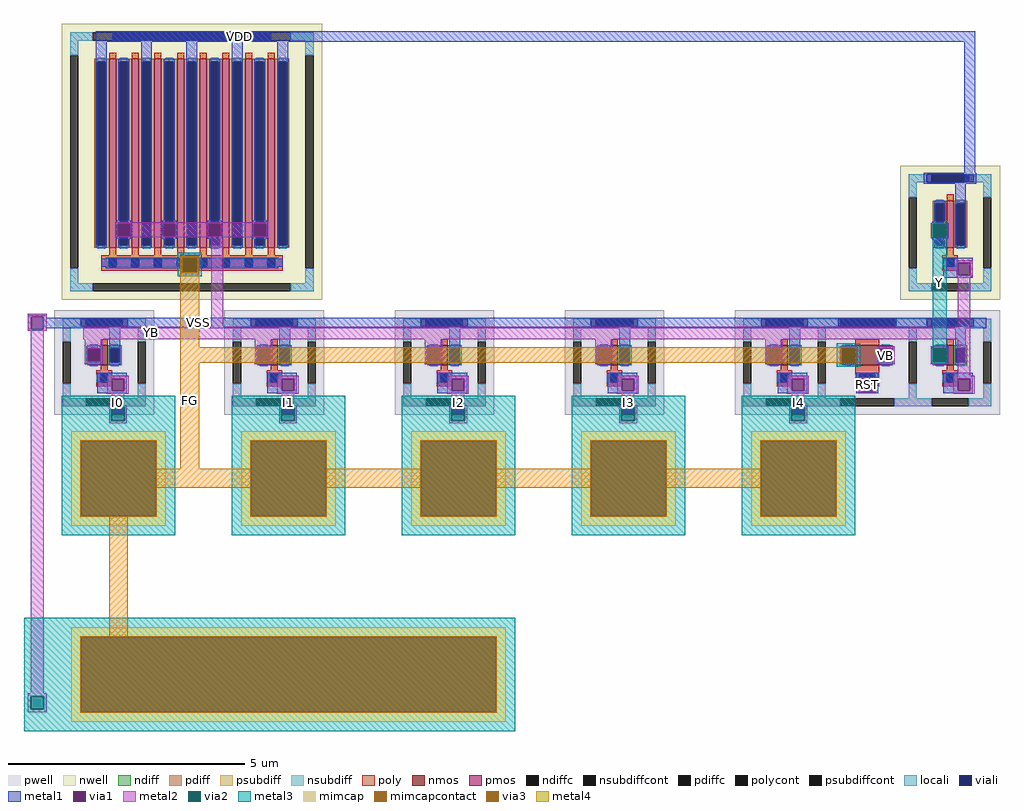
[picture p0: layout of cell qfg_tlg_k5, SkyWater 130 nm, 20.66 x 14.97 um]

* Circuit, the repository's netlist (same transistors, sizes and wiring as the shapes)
.subckt qfg_tlg_k5 I0 I1 I2 I3 I4 RST VB Y YB FG VDD VSS
XMP  YB FG VDD VDD sky130_fd_pr__pfet_01v8 W=32.0 L=0.15
XMNI0 YB I0 VSS VSS sky130_fd_pr__nfet_01v8 W=0.42 L=0.15
XMNI1 YB I1 VSS VSS sky130_fd_pr__nfet_01v8 W=0.42 L=0.15
XMNI2 YB I2 VSS VSS sky130_fd_pr__nfet_01v8 W=0.42 L=0.15
XMNI3 YB I3 VSS VSS sky130_fd_pr__nfet_01v8 W=0.42 L=0.15
XMNI4 YB I4 VSS VSS sky130_fd_pr__nfet_01v8 W=0.42 L=0.15
XCI0 FG I0 sky130_fd_pr__cap_mim_m3_1 W=2.0 L=2.0 MF=1
XCI1 FG I1 sky130_fd_pr__cap_mim_m3_1 W=2.0 L=2.0 MF=1
XCI2 FG I2 sky130_fd_pr__cap_mim_m3_1 W=2.0 L=2.0 MF=1
XCI3 FG I3 sky130_fd_pr__cap_mim_m3_1 W=2.0 L=2.0 MF=1
XCI4 FG I4 sky130_fd_pr__cap_mim_m3_1 W=2.0 L=2.0 MF=1
XCBL FG VSS sky130_fd_pr__cap_mim_m3_1 W=9.2 L=2.0 MF=1
XMR  FG RST VB VSS sky130_fd_pr__nfet_01v8 W=0.42 L=0.5
XIP  Y  YB VDD VDD sky130_fd_pr__pfet_01v8 W=1.0 L=0.15
XIN  Y  YB VSS VSS sky130_fd_pr__nfet_01v8 W=0.42 L=0.15
.ends qfg_tlg_k5

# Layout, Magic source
magic
tech sky130A
magscale 1 2
<< metal1 >>
rect 144 2918 3868 2964
rect 144 2840 190 2918
rect 336 2840 382 2918
rect 528 2840 574 2918
rect 720 2840 766 2918
rect 912 2840 958 2918
rect 3822 2322 3868 2918
rect 3783 2318 3868 2322
rect 3783 2240 3829 2318
rect 231 2148 295 2160
rect 231 2096 237 2148
rect 289 2096 295 2148
rect 231 2084 295 2096
rect 423 2148 487 2160
rect 423 2096 429 2148
rect 481 2096 487 2148
rect 423 2084 487 2096
rect 615 2148 679 2160
rect 615 2096 621 2148
rect 673 2096 679 2148
rect 615 2084 679 2096
rect 807 2148 871 2160
rect 807 2096 813 2148
rect 865 2096 871 2148
rect 807 2084 871 2096
rect 3686 2144 3750 2156
rect 3686 2092 3692 2144
rect 3744 2092 3750 2144
rect 3686 2080 3750 2092
rect 502 2005 582 2016
rect 186 2001 916 2005
rect 186 1959 516 2001
rect 502 1949 516 1959
rect 568 1959 916 2001
rect 3733 1982 3858 2005
rect 568 1949 582 1959
rect 502 1934 582 1949
rect 3733 1930 3796 1982
rect 3848 1930 3858 1982
rect 3733 1920 3858 1930
rect -144 1754 -64 1760
rect -144 1702 -130 1754
rect -78 1751 -64 1754
rect -78 1705 3914 1751
rect -78 1702 -64 1705
rect -144 1696 -64 1702
rect 104 1618 168 1630
rect 201 1620 247 1705
rect 104 1566 110 1618
rect 162 1566 168 1618
rect 104 1554 168 1566
rect 824 1618 888 1630
rect 921 1620 967 1705
rect 824 1566 830 1618
rect 882 1566 888 1618
rect 824 1554 888 1566
rect 1544 1618 1608 1630
rect 1641 1620 1687 1705
rect 1544 1566 1550 1618
rect 1602 1566 1608 1618
rect 1544 1554 1608 1566
rect 2264 1618 2328 1630
rect 2361 1620 2407 1705
rect 2264 1566 2270 1618
rect 2322 1566 2328 1618
rect 2264 1554 2328 1566
rect 2984 1618 3048 1630
rect 3081 1620 3127 1705
rect 2984 1566 2990 1618
rect 3042 1566 3048 1618
rect 2984 1554 3048 1566
rect 3300 1618 3364 1630
rect 3300 1566 3306 1618
rect 3358 1566 3364 1618
rect 3300 1554 3364 1566
rect 3458 1618 3522 1630
rect 3458 1566 3464 1618
rect 3516 1566 3522 1618
rect 3458 1554 3522 1566
rect 3686 1618 3750 1630
rect 3783 1620 3829 1705
rect 3686 1566 3692 1618
rect 3744 1566 3750 1618
rect 3686 1554 3750 1566
rect 151 1492 276 1517
rect 151 1440 212 1492
rect 264 1440 276 1492
rect 151 1430 276 1440
rect 871 1492 996 1517
rect 871 1440 932 1492
rect 984 1440 996 1492
rect 871 1430 996 1440
rect 1591 1492 1716 1517
rect 1591 1440 1652 1492
rect 1704 1440 1716 1492
rect 1591 1430 1716 1440
rect 2311 1492 2436 1517
rect 2311 1440 2372 1492
rect 2424 1440 2436 1492
rect 2311 1430 2436 1440
rect 3031 1492 3156 1517
rect 3031 1440 3092 1492
rect 3144 1440 3156 1492
rect 3031 1430 3156 1440
rect 3365 1492 3457 1517
rect 3365 1440 3385 1492
rect 3437 1440 3457 1492
rect 3365 1430 3457 1440
rect 3733 1492 3858 1517
rect 3733 1440 3794 1492
rect 3846 1440 3858 1492
rect 3733 1430 3858 1440
<< via1 >>
rect 237 2096 289 2148
rect 429 2096 481 2148
rect 621 2096 673 2148
rect 813 2096 865 2148
rect 3692 2092 3744 2144
rect 516 1949 568 2001
rect 3796 1930 3848 1982
rect -130 1702 -78 1754
rect 110 1566 162 1618
rect 830 1566 882 1618
rect 1550 1566 1602 1618
rect 2270 1566 2322 1618
rect 2990 1566 3042 1618
rect 3306 1566 3358 1618
rect 3464 1566 3516 1618
rect 3692 1566 3744 1618
rect 212 1440 264 1492
rect 932 1440 984 1492
rect 1652 1440 1704 1492
rect 2372 1440 2424 1492
rect 3092 1440 3144 1492
rect 3385 1440 3437 1492
rect 3794 1440 3846 1492
<< metal2 >>
rect 227 2148 875 2154
rect 227 2096 237 2148
rect 289 2096 429 2148
rect 481 2096 621 2148
rect 673 2096 813 2148
rect 865 2096 875 2148
rect 227 2090 875 2096
rect 3680 2146 3756 2150
rect 3680 2090 3690 2146
rect 3746 2090 3756 2146
rect 504 2003 580 2010
rect 504 1947 514 2003
rect 570 1947 580 2003
rect 504 1940 580 1947
rect -144 1754 -64 1766
rect -144 1702 -130 1754
rect -78 1702 -64 1754
rect 632 1712 684 2090
rect 3680 2086 3756 2090
rect 3790 1982 3858 1994
rect 3790 1930 3796 1982
rect 3848 1930 3858 1982
rect 3790 1924 3858 1930
rect 3794 1712 3846 1924
rect -144 1696 -64 1702
rect -132 160 -76 1696
rect 90 1660 3846 1712
rect 98 1618 174 1660
rect 98 1566 110 1618
rect 162 1566 174 1618
rect 98 1554 174 1566
rect 818 1618 894 1660
rect 818 1566 830 1618
rect 882 1566 894 1618
rect 818 1554 894 1566
rect 1538 1618 1614 1660
rect 1538 1566 1550 1618
rect 1602 1566 1614 1618
rect 1538 1554 1614 1566
rect 2258 1618 2334 1660
rect 2258 1566 2270 1618
rect 2322 1566 2334 1618
rect 2258 1554 2334 1566
rect 2978 1618 3054 1660
rect 2978 1566 2990 1618
rect 3042 1566 3054 1618
rect 2978 1554 3054 1566
rect 3294 1620 3370 1630
rect 3294 1564 3304 1620
rect 3360 1564 3370 1620
rect 3294 1554 3370 1564
rect 3452 1618 3528 1630
rect 3452 1566 3464 1618
rect 3516 1566 3528 1618
rect 3452 1554 3528 1566
rect 3680 1620 3756 1630
rect 3680 1564 3690 1620
rect 3746 1564 3756 1620
rect 3680 1554 3756 1564
rect 3794 1504 3846 1660
rect 192 1492 284 1504
rect 192 1440 212 1492
rect 264 1440 284 1492
rect 192 1428 284 1440
rect 912 1492 1004 1504
rect 912 1440 932 1492
rect 984 1440 1004 1492
rect 912 1428 1004 1440
rect 1632 1492 1724 1504
rect 1632 1440 1652 1492
rect 1704 1440 1724 1492
rect 1632 1428 1724 1440
rect 2352 1492 2444 1504
rect 2352 1440 2372 1492
rect 2424 1440 2444 1492
rect 2352 1428 2444 1440
rect 3072 1492 3164 1504
rect 3072 1440 3092 1492
rect 3144 1440 3164 1492
rect 3072 1428 3164 1440
rect 3373 1492 3449 1498
rect 3373 1440 3385 1492
rect 3437 1440 3449 1492
rect 3373 1434 3449 1440
rect 3774 1492 3866 1504
rect 3774 1440 3794 1492
rect 3846 1440 3866 1492
rect 3774 1428 3866 1440
rect 212 1380 264 1428
rect 932 1380 984 1428
rect 1652 1380 1704 1428
rect 2372 1380 2424 1428
rect 3092 1380 3144 1428
rect 200 1370 276 1380
rect 200 1314 210 1370
rect 266 1314 276 1370
rect 200 1304 276 1314
rect 920 1370 996 1380
rect 920 1314 930 1370
rect 986 1314 996 1370
rect 920 1304 996 1314
rect 1640 1370 1716 1380
rect 1640 1314 1650 1370
rect 1706 1314 1716 1370
rect 1640 1304 1716 1314
rect 2360 1370 2436 1380
rect 2360 1314 2370 1370
rect 2426 1314 2436 1370
rect 2360 1304 2436 1314
rect 3080 1370 3156 1380
rect 3080 1314 3090 1370
rect 3146 1314 3156 1370
rect 3080 1304 3156 1314
rect -144 148 -64 160
rect -144 92 -132 148
rect -76 92 -64 148
rect -144 80 -64 92
<< via2 >>
rect 3690 2144 3746 2146
rect 3690 2092 3692 2144
rect 3692 2092 3744 2144
rect 3744 2092 3746 2144
rect 3690 2090 3746 2092
rect 514 2001 570 2003
rect 514 1949 516 2001
rect 516 1949 568 2001
rect 568 1949 570 2001
rect 514 1947 570 1949
rect 3304 1618 3360 1620
rect 3304 1566 3306 1618
rect 3306 1566 3358 1618
rect 3358 1566 3360 1618
rect 3304 1564 3360 1566
rect 3690 1618 3746 1620
rect 3690 1566 3692 1618
rect 3692 1566 3744 1618
rect 3744 1566 3746 1618
rect 3690 1564 3746 1566
rect 210 1314 266 1370
rect 930 1314 986 1370
rect 1650 1314 1706 1370
rect 2370 1314 2426 1370
rect 3090 1314 3146 1370
rect -132 92 -76 148
<< metal3 >>
rect 3684 2146 3752 2152
rect 3684 2090 3690 2146
rect 3746 2090 3752 2146
rect 3684 2084 3752 2090
rect 492 2007 592 2025
rect 492 1943 510 2007
rect 574 1943 592 2007
rect 492 1925 592 1943
rect 3282 1624 3382 1642
rect 3688 1626 3748 2084
rect 3282 1560 3300 1624
rect 3364 1560 3382 1624
rect 3282 1542 3382 1560
rect 3684 1620 3752 1626
rect 3684 1564 3690 1620
rect 3746 1564 3752 1620
rect 3684 1558 3752 1564
rect 0 1370 480 1420
rect 0 1314 210 1370
rect 266 1314 480 1370
rect 0 830 480 1314
rect 720 1370 1200 1420
rect 720 1314 930 1370
rect 986 1314 1200 1370
rect 720 830 1200 1314
rect 1440 1370 1920 1420
rect 1440 1314 1650 1370
rect 1706 1314 1920 1370
rect 1440 830 1920 1314
rect 2160 1370 2640 1420
rect 2160 1314 2370 1370
rect 2426 1314 2640 1370
rect 2160 830 2640 1314
rect 2880 1370 3360 1420
rect 2880 1314 3090 1370
rect 3146 1314 3360 1370
rect 2880 830 3360 1314
rect -160 148 1920 480
rect -160 92 -132 148
rect -76 92 1920 148
rect -160 0 1920 92
<< via3 >>
rect 510 2003 574 2007
rect 510 1947 514 2003
rect 514 1947 570 2003
rect 570 1947 574 2003
rect 510 1943 574 1947
rect 3300 1620 3364 1624
rect 3300 1564 3304 1620
rect 3304 1564 3360 1620
rect 3360 1564 3364 1620
rect 3300 1560 3364 1564
<< mimcap >>
rect 40 1230 440 1270
rect 40 910 80 1230
rect 400 910 440 1230
rect 40 870 440 910
rect 760 1230 1160 1270
rect 760 910 800 1230
rect 1120 910 1160 1230
rect 760 870 1160 910
rect 1480 1230 1880 1270
rect 1480 910 1520 1230
rect 1840 910 1880 1230
rect 1480 870 1880 910
rect 2200 1230 2600 1270
rect 2200 910 2240 1230
rect 2560 910 2600 1230
rect 2200 870 2600 910
rect 2920 1230 3320 1270
rect 2920 910 2960 1230
rect 3280 910 3320 1230
rect 2920 870 3320 910
rect 40 400 1880 440
rect 40 80 80 400
rect 1840 80 1880 400
rect 40 40 1880 80
<< mimcapcontact >>
rect 80 910 400 1230
rect 800 910 1120 1230
rect 1520 910 1840 1230
rect 2240 910 2560 1230
rect 2960 910 3280 1230
rect 80 80 1840 400
<< metal4 >>
rect 502 2007 582 2010
rect 502 1943 510 2007
rect 574 1943 582 2007
rect 502 1625 582 1943
rect 502 1624 3365 1625
rect 502 1560 3300 1624
rect 3364 1560 3365 1624
rect 502 1559 3365 1560
rect 78 1230 402 1232
rect 78 910 80 1230
rect 400 1110 402 1230
rect 502 1110 582 1559
rect 798 1230 1122 1232
rect 798 1110 800 1230
rect 400 1030 800 1110
rect 400 910 402 1030
rect 78 908 402 910
rect 798 910 800 1030
rect 1120 1110 1122 1230
rect 1518 1230 1842 1232
rect 1518 1110 1520 1230
rect 1120 1030 1520 1110
rect 1120 910 1122 1030
rect 798 908 1122 910
rect 1518 910 1520 1030
rect 1840 1110 1842 1230
rect 2238 1230 2562 1232
rect 2238 1110 2240 1230
rect 1840 1030 2240 1110
rect 1840 910 1842 1030
rect 1518 908 1842 910
rect 2238 910 2240 1030
rect 2560 1110 2562 1230
rect 2958 1230 3282 1232
rect 2958 1110 2960 1230
rect 2560 1030 2960 1110
rect 2560 910 2562 1030
rect 2238 908 2562 910
rect 2958 910 2960 1030
rect 3280 910 3282 1230
rect 2958 908 3282 910
rect 200 402 280 908
rect 78 400 1842 402
rect 78 80 80 400
rect 1840 80 1842 400
rect 78 78 1842 80
use sky130_fd_pr__nfet_01v8_M48NH5  MIN
transform 1 0 3762 0 1 1560
box -211 -221 211 221
use sky130_fd_pr__pfet_01v8_SEBX2B  MIP
transform 1 0 3762 0 1 2110
box -211 -284 211 284
use sky130_fd_pr__nfet_01v8_M48NH5  MN0
transform 1 0 180 0 1 1560
box -211 -221 211 221
use sky130_fd_pr__nfet_01v8_M48NH5  MN1
transform 1 0 900 0 1 1560
box -211 -221 211 221
use sky130_fd_pr__nfet_01v8_M48NH5  MN2
transform 1 0 1620 0 1 1560
box -211 -221 211 221
use sky130_fd_pr__nfet_01v8_M48NH5  MN3
transform 1 0 2340 0 1 1560
box -211 -221 211 221
use sky130_fd_pr__nfet_01v8_M48NH5  MN4
transform 1 0 3060 0 1 1560
box -211 -221 211 221
use sky130_fd_pr__pfet_01v8_DC2PY3  MP
transform 1 0 551 0 1 2410
box -551 -584 551 584
use sky130_fd_pr__nfet_01v8_EQ7N4B  MR
transform 1 0 3411 0 1 1560
box -246 -221 246 221
<< labels >>
rlabel metal3 238 1390 238 1390 0 I0
port 1 nsew
rlabel metal3 958 1390 958 1390 0 I1
port 2 nsew
rlabel metal3 1678 1390 1678 1390 0 I2
port 3 nsew
rlabel metal3 2398 1390 2398 1390 0 I3
port 4 nsew
rlabel metal3 3118 1390 3118 1390 0 I4
port 5 nsew
rlabel via1 3490 1592 3490 1592 0 VB
port 6 nsew
rlabel via1 3411 1466 3411 1466 0 RST
port 7 nsew
rlabel metal4 542 1400 542 1400 0 FG
port 8 nsew
rlabel metal3 3718 1900 3718 1900 0 Y
port 9 nsew
rlabel metal2 380 1686 380 1686 0 YB
port 10 nsew
rlabel metal1 751 2941 751 2941 0 VDD
port 11 nsew
rlabel metal1 580 1728 580 1728 0 VSS
port 12 nsew
<< end >>

# cell sky130_fd_pr__nfet_01v8_M48NH5: kit device sky130_fd_pr__nfet_01v8, w 0.42 l 0.15 m 1 nf 1 diffcov 100 polycov 100 guard 1 glc 1 grc 1 gtc 1 gbc 1 tbcov 100 rlcov 100 topc 0 botc 1 poverlap 0 doverlap 1 lmin 0.15 wmin 0.42 class mosfet compatible {sky130_fd_pr__nfet_01v8 sky130_fd_pr__nfet_01v8_lvt sky130_fd_bs_flash__special_sonosfet_star sky130_fd_pr__nfet_g5v0d10v5 sky130_fd_pr__nfet_05v0_nvt sky130_fd_pr__nfet_03v3_nvt} full_metal 1 conn_gates 0 viasrc 100 viadrn 100 viagate 100 viagb 0 viagr 0 viagl 0 viagt 70 doports 1

# cell sky130_fd_pr__pfet_01v8_SEBX2B: kit device sky130_fd_pr__pfet_01v8, w 1.0 l 0.15 m 1 nf 1 diffcov 100 polycov 100 guard 1 glc 1 grc 1 gtc 1 gbc 1 tbcov 100 rlcov 100 topc 0 botc 1 poverlap 0 doverlap 1 lmin 0.15 wmin 0.42 class mosfet compatible {sky130_fd_pr__pfet_01v8 sky130_fd_pr__pfet_01v8_lvt sky130_fd_pr__pfet_01v8_hvt sky130_fd_pr__pfet_g5v0d10v5} full_metal 1 conn_gates 0 viasrc 100 viadrn 100 viagate 100 viagb 0 viagr 0 viagl 0 viagt 70 doports 1

# cell sky130_fd_pr__pfet_01v8_DC2PY3: kit device sky130_fd_pr__pfet_01v8, w 4.0 l 0.15 m 1 nf 8 diffcov 100 polycov 100 guard 1 glc 1 grc 1 gtc 1 gbc 1 tbcov 100 rlcov 100 topc 0 botc 1 poverlap 0 doverlap 1 lmin 0.15 wmin 0.42 class mosfet compatible {sky130_fd_pr__pfet_01v8 sky130_fd_pr__pfet_01v8_lvt sky130_fd_pr__pfet_01v8_hvt sky130_fd_pr__pfet_g5v0d10v5} full_metal 1 conn_gates 1 viasrc 100 viadrn 100 viagate 100 viagb 0 viagr 0 viagl 0 viagt 70 doports 1

# cell sky130_fd_pr__nfet_01v8_EQ7N4B: kit device sky130_fd_pr__nfet_01v8, w 0.42 l 0.5 m 1 nf 1 diffcov 100 polycov 100 guard 1 glc 1 grc 1 gtc 1 gbc 1 tbcov 100 rlcov 100 topc 0 botc 1 poverlap 0 doverlap 1 lmin 0.15 wmin 0.42 class mosfet compatible {sky130_fd_pr__nfet_01v8 sky130_fd_pr__nfet_01v8_lvt sky130_fd_bs_flash__special_sonosfet_star sky130_fd_pr__nfet_g5v0d10v5 sky130_fd_pr__nfet_05v0_nvt sky130_fd_pr__nfet_03v3_nvt} full_metal 1 conn_gates 0 viasrc 100 viadrn 100 viagate 100 viagb 0 viagr 0 viagl 0 viagt 70 doports 1
